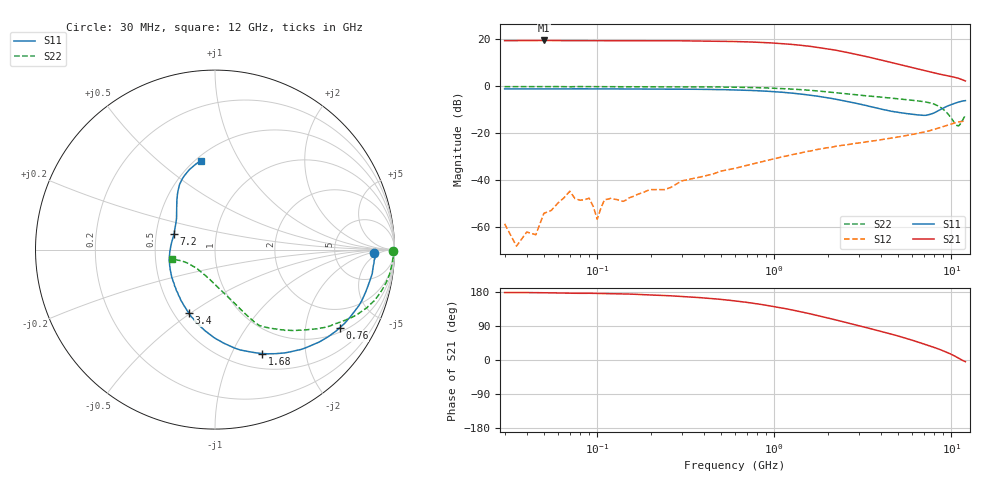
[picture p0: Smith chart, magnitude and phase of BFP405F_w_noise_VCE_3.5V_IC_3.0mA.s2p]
! Infineon Technologies  Discrete & RF Semiconductors
! BFP405F
! VCE =  3.5 V,  IC =  3.0 mA
! Common Emitter S-Parameters:  Nov 2015
# GHz  S  MA  R  50
!  f  S11  S21  S12  S22
! GHz  MAG  ANG  MAG  ANG  MAG  ANG  MAG  ANG
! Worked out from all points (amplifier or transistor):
!   239 points, 30 MHz to 12 GHz, reference 50 ohm
!   highest |S21| = 19.6 dB at 50 MHz (marker M1)
!   |S21| within 3 dB of that: start of sweep to 1.774 GHz
!   unconditionally stable (mu >= 1): 39.12 MHz to 40.28 MHz; 3.558 GHz to end of sweep
!   at 300 MHz: K = 0.08, MSG = 29.8 dB, |S12| = -40.2 dB
!   at 1.88 GHz: K = 0.48, MSG = 21.4 dB, |S12| = -26.4 dB
!   at 12 GHz: K = 1.56, MAG = 4.1 dB, |S12| = -14.6 dB
!   lowest NFmin = 1.11 dB at 450 MHz
!   S11 on the Smith chart (normalised r, x): 30 MHz: 16, -3; 760 MHz: 1.16, -3.08; 1.68 GHz: 0.68, -1.32; 3.4 GHz: 0.59, -0.49; 7.2 GHz: 0.62, +0.12; 12 GHz: 0.53, +0.71
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0.03  0.8876 -1.1  9.456 178.0  0.0012 135.4  0.9912 -0.6
0.035  0.8868 -1.3  9.46 178.0  0.0004 93.7  0.9924 -0.7
0.045  0.8874 -2.0  9.502 177.6  0.0007 124.2  0.9944 -0.8
0.05  0.8887 -2.3  9.541 177.3  0.002 143.6  0.9951 -0.8
0.07  0.8924 -3.1  9.461 176.2  0.0059 39.9  0.9873 -1.2
0.085  0.8901 -3.6  9.438 176.0  0.0039 91.9  0.9932 -1.7
0.09  0.8891 -3.8  9.463 176.1  0.0042 77.0  0.9906 -2.0
0.1  0.8888 -4.2  9.41 175.7  0.0015 55.2  0.9911 -2.1
0.11  0.8895 -4.7  9.414 175.3  0.0039 98.0  0.9906 -2.1
0.24  0.8824 -10.4  9.409 170.2  0.0064 83.0  0.989 -4.9
0.4  0.8693 -17.3  9.299 163.8  0.0123 81.2  0.9822 -8.1
0.6  0.8451 -25.6  9.055 155.8  0.0181 78.4  0.9657 -12.1
0.76  0.8201 -32.1  8.814 149.8  0.0226 75.9  0.9487 -15.0
1.14  0.7476 -46.7  8.095 136.2  0.0325 69.5  0.8985 -21.7
1.64  0.644 -64.2  7.047 120.6  0.0433 63.3  0.8223 -28.7
1.68  0.6366 -65.5  6.954 119.5  0.0443 62.6  0.8163 -29.2
2.24  0.5325 -83.0  5.887 105.3  0.0537 57.1  0.7384 -36.2
3.4  0.3825 -112.4  4.23 84.0  0.0673 50.1  0.6282 -45.9
4.5  0.3028 -138.0  3.298 69.3  0.0784 47.3  0.5697 -51.4
7.2  0.2438 159.0  2.136 40.2  0.1098 42.6  0.4654 -61.1
10.8  0.4567 110.0  1.516 6.7  0.1731 29.0  0.1466 -122.2
12  0.5009 98.7  1.312 -4.4  0.1864 23.1  0.2459 -167.7
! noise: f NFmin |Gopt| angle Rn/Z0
0.45  1.11  0.5  6  0.37
0.9  1.12  0.47  14  0.41
1.5  1.21  0.44  20  0.35
1.9  1.25  0.42  27  0.35
2.4  1.43  0.39  37  0.36
3  1.5  0.37  47  0.33
3.5  1.54  0.36  57  0.31
4.5  1.72  0.3  73  0.26
5.5  1.97  0.19  88  0.16
